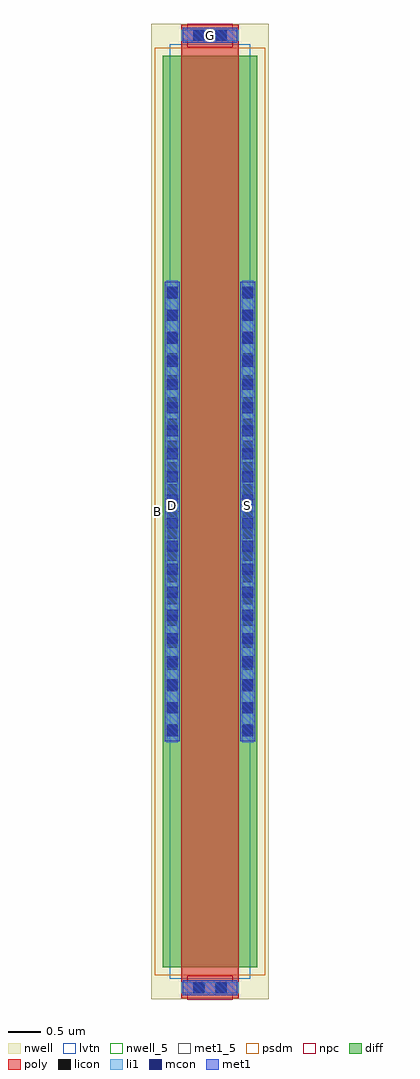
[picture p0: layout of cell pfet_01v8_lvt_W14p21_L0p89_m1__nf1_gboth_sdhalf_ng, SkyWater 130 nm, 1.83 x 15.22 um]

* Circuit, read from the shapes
.subckt pfet_01v8_lvt_W14p21_L0p89_m1__nf1_gboth_sdhalf_ng B D G S
XM1 S G D B sky130_fd_pr__pfet_01v8_lvt w=14.21 l=0.89
.ends

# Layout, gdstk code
import gdstk
lib = gdstk.Library(unit=1e-6, precision=1e-09)
def R(c, l, rs):  # rectangles x0, y0, x1, y1
    for r in rs: c.add(gdstk.rectangle(r[:2], r[2:], *l))
def A(c, l, x, y, w, h, nx, ny, dx, dy):  # array of equal rectangles
    R(c, l, [(x+i*dx, y+j*dy, x+i*dx+w, y+j*dy+h) for i in range(nx) for j in range(ny)])
nwell_5 = (64, 5)
nwell = (64, 20)
diff = (65, 20)
poly = (66, 20)
licon = (66, 44)
li1 = (67, 20)
mcon = (67, 44)
met1_5 = (68, 5)
met1 = (68, 20)
psdm = (94, 20)
npc = (95, 20)
lvtn = (125, 44)

sky130_fd_pr__pfet_01v8_ = lib.new_cell('sky130_fd_pr__pfet_01v8_lvt_YNN8PB')
R(sky130_fd_pr__pfet_01v8_, nwell, [(-0.915,-7.605,0.915,7.605)])
R(sky130_fd_pr__pfet_01v8_, diff, [(-0.735,-7.105,0.735,7.105)])
R(sky130_fd_pr__pfet_01v8_, poly, [(-0.445,-7.59,0.445,7.59)])
A(sky130_fd_pr__pfet_01v8_, licon, -0.675, -3.485, 0.17, 0.17, 1, 21, 0, 0.34)
A(sky130_fd_pr__pfet_01v8_, licon, 0.505, -3.485, 0.17, 0.17, 1, 21, 0, 0.34)
R(sky130_fd_pr__pfet_01v8_, licon, [(-0.255,-7.51,-0.085,-7.34), (0.085,-7.51,0.255,-7.34), (-0.255,7.34,-0.085,7.51), (0.085,7.34,0.255,7.51)])
R(sky130_fd_pr__pfet_01v8_, li1, [(-0.445,-7.51,0.445,-7.34), (-0.675,-3.605,-0.505,3.605), (0.505,-3.605,0.675,3.605), (-0.445,7.34,0.445,7.51)])
A(sky130_fd_pr__pfet_01v8_, mcon, -0.675, -3.505, 0.17, 0.17, 1, 20, 0, 0.36)
A(sky130_fd_pr__pfet_01v8_, mcon, 0.505, -3.505, 0.17, 0.17, 1, 20, 0, 0.36)
R(sky130_fd_pr__pfet_01v8_, mcon, [(-0.265,-7.51,-0.095,-7.34), (0.095,-7.51,0.265,-7.34), (-0.265,7.34,-0.095,7.51), (0.095,7.34,0.265,7.51)])
R(sky130_fd_pr__pfet_01v8_, met1, [(-0.425,-7.54,0.425,-7.31), (-0.705,-3.585,-0.475,3.585), (0.475,-3.585,0.705,3.585), (-0.425,7.31,0.425,7.54)])
R(sky130_fd_pr__pfet_01v8_, psdm, [(-0.86,-7.23,0.86,7.23)])
R(sky130_fd_pr__pfet_01v8_, npc, [(-0.355,-7.61,0.355,-7.24), (-0.355,7.24,0.355,7.61)])
R(sky130_fd_pr__pfet_01v8_, lvtn, [(-0.625,-7.285,0.625,7.285)])
sky130_fd_pr__pfet_01v8_.add(gdstk.Label('D', (-0.59,0), layer=67, texttype=5))
sky130_fd_pr__pfet_01v8_.add(gdstk.Label('S', (0.59,0), layer=67, texttype=5))
sky130_fd_pr__pfet_01v8_.add(gdstk.Label('G', (0,7.425), layer=67, texttype=5))

pfet_01v8_lvt_w14p21_l0p = lib.new_cell('pfet_01v8_lvt_W14p21_L0p89_m1__nf1_gboth_sdhalf_ng')
R(pfet_01v8_lvt_w14p21_l0p, nwell_5, [(0.05,7.555,0.15,7.655)])
R(pfet_01v8_lvt_w14p21_l0p, nwell, [(0.05,7.555,0.15,7.655)])
R(pfet_01v8_lvt_w14p21_l0p, met1_5, [(0.21,7.605,0.44,7.805), (1.39,7.605,1.62,7.805), (0.49,14.915,1.34,15.145)])
R(pfet_01v8_lvt_w14p21_l0p, met1, [(0.21,7.605,0.44,7.805), (1.39,7.605,1.62,7.805), (0.49,14.915,1.34,15.145)])
pfet_01v8_lvt_w14p21_l0p.add(gdstk.Reference(sky130_fd_pr__pfet_01v8_, (0.915,7.605)))
pfet_01v8_lvt_w14p21_l0p.add(gdstk.Label('D', (0.325,7.705), layer=68, texttype=5))
pfet_01v8_lvt_w14p21_l0p.add(gdstk.Label('S', (1.505,7.705), layer=68, texttype=5))
pfet_01v8_lvt_w14p21_l0p.add(gdstk.Label('G', (0.915,15.03), layer=68, texttype=5))
pfet_01v8_lvt_w14p21_l0p.add(gdstk.Label('B', (0.1,7.605), layer=64, texttype=5))

lib.write_gds('pfet_01v8_lvt_W14p21_L0p89_m1__nf1_gboth_sdhalf_ng.gds')
